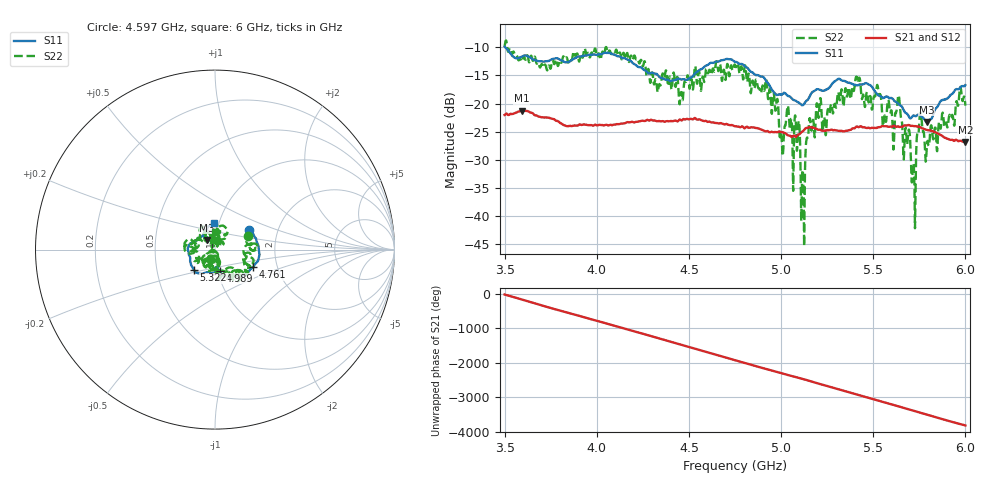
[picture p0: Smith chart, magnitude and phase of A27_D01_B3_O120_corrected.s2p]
! Created with skrf 1.9.0 (http://scikit-rf.org).
# Hz S RI R 50.0
!freq ReS11 ImS11 ReS21 ImS21 ReS12 ImS12 ReS22 ImS22
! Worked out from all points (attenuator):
!   1601 points, 3.5 GHz to 6 GHz, reference 50 ohm
!   highest |S21| = -21.25 dB at 3.592 GHz (marker M1); lowest = -26.8 dB at 6 GHz (marker M2)
!   lowest |S11| = -23.3 dB at 5.791 GHz (marker M3), VSWR 1.15, Z = 45.6 + j4.89 ohm
!   |S11| at or under -10 dB: 3.503 GHz to end of sweep
!   |S22| runs from -45.3 to -8.8 dB; largest |S21 - S12| = 0.0012
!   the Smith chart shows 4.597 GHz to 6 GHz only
!   S11 on the Smith chart (normalised r, x): 4.597 GHz: 1.43, +0.32; 4.761 GHz: 1.50, -0.31; 4.989 GHz: 1.03, -0.25; 5.322 GHz: 0.77, -0.18; 6 GHz: 0.95, +0.28
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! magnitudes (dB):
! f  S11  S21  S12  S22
! 3.5 GHz  -9.9  -22.0  -22.0  -9.8
! 3.592 GHz  -11.7  -21.2  -21.3  -12.5
! 3.917 GHz  -11.6  -23.8  -23.8  -11.4
! 4.211 GHz  -13.1  -23.2  -23.3  -12.0
! 4.334 GHz  -15.1  -23.1  -23.0  -17.3
! 4.597 GHz  -13.2  -23.1  -23.1  -13.9
! 4.75 GHz  -12.6  -24.0  -24.0  -13.1
! 4.761 GHz  -12.7  -24.1  -24.1  -13.0
! 4.989 GHz  -18.4  -24.9  -24.9  -23.9
! 5.003 GHz  -18.4  -25.1  -25.1  -26.3
! 5.088 GHz  -19.7  -25.7  -25.7  -27.9
! 5.119 GHz  -20.2  -24.9  -24.8  -32.3
! 5.145 GHz  -19.3  -24.3  -24.3  -25.9
! 5.167 GHz  -18.0  -24.2  -24.2  -24.6
! 5.322 GHz  -15.7  -24.9  -24.8  -19.0
! 5.416 GHz  -16.8  -24.1  -24.2  -16.2
! 5.584 GHz  -19.0  -24.1  -24.1  -19.6
! 5.642 GHz  -20.2  -24.2  -24.1  -19.4
! 5.717 GHz  -22.1  -24.0  -23.9  -30.6
! 5.752 GHz  -22.0  -24.1  -24.1  -22.4
! 5.791 GHz  -23.3  -24.7  -24.6  -27.7
! 6 GHz  -16.7  -26.8  -26.8  -20.3
